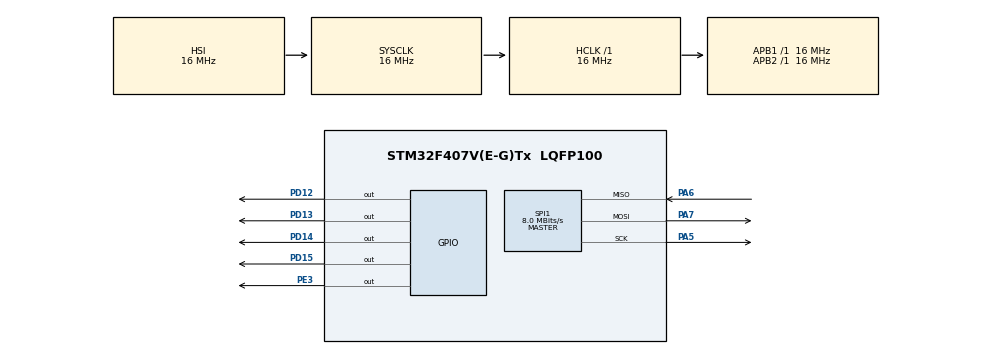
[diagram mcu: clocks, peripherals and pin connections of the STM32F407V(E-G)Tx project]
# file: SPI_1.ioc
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Mcu.Family=STM32F4
Mcu.Name=STM32F407V(E-G)Tx
Mcu.Package=LQFP100
NVIC.PriorityGroup=NVIC_PRIORITYGROUP_4
PA5.Mode=Full_Duplex_Master
PA5.Signal=SPI1_SCK
PA6.Mode=Full_Duplex_Master
PA6.Signal=SPI1_MISO
PA7.Mode=Full_Duplex_Master
PA7.Signal=SPI1_MOSI
PD12.Signal=GPIO_Output
PD13.Signal=GPIO_Output
PD14.Signal=GPIO_Output
PD15.Signal=GPIO_Output
PE3.GPIO_PuPd=GPIO_PULLUP
PE3.PinState=GPIO_PIN_SET
PE3.Signal=GPIO_Output
ProjectManager.HeapSize=0x200
ProjectManager.StackSize=0x400
ProjectManager.TargetToolchain=STM32CubeIDE
RCC.AHBFreq_Value=16000000
RCC.APB1Freq_Value=16000000
RCC.APB2Freq_Value=16000000
RCC.CortexFreq_Value=16000000
RCC.HSE_VALUE=25000000
RCC.HSI_VALUE=16000000
RCC.LSE_VALUE=32768
RCC.SYSCLKFreq_VALUE=16000000
RCC.VCOOutputFreq_Value=192000000
SPI1.CLKPhase=SPI_PHASE_2EDGE
SPI1.CLKPolarity=SPI_POLARITY_HIGH
SPI1.CalculateBaudRate=8.0 MBits/s
SPI1.Direction=SPI_DIRECTION_2LINES
SPI1.Mode=SPI_MODE_MASTER
SPI1.VirtualType=VM_MASTER
board=custom

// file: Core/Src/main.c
/* USER CODE BEGIN Header */
/* USER CODE END Header */
#include "main.h"

SPI_HandleTypeDef hspi1;

/* USER CODE BEGIN PV */
uint8_t ReadFlag = 0x80;

uint8_t Return[6];
uint8_t TxBuf[2];

uint8_t WhoAmI;

int16_t Rx_x;
int16_t Rx_y;
int16_t Rx_z;
/* USER CODE END PV */

void SystemClock_Config(void);
static void MX_GPIO_Init(void);
static void MX_SPI1_Init(void);

int main(void)
{

  /* MCU Configuration--------------------------------------------------------*/

  /* Reset of all peripherals, Initializes the Flash interface and the Systick. */
  HAL_Init();

  /* Configure the system clock */
  SystemClock_Config();

  /* Initialize all configured peripherals */
  MX_GPIO_Init();
  MX_SPI1_Init();
  /* USER CODE BEGIN 2 */
  /* WHO AM I */
  HAL_GPIO_WritePin(GPIOE, GPIO_PIN_3, GPIO_PIN_RESET);

  TxBuf[0] = 0x0F | ReadFlag;

  HAL_SPI_Transmit(&hspi1, TxBuf, 1, 50);
  HAL_SPI_Receive(&hspi1, &WhoAmI, 1, 50);

  HAL_GPIO_WritePin(GPIOE, GPIO_PIN_3, GPIO_PIN_SET);

  /* CTRL_REG4 */
  HAL_GPIO_WritePin(GPIOE, GPIO_PIN_3, GPIO_PIN_RESET);

  TxBuf[0] = 0x20;       // WRITE -> bit7 = 0
  TxBuf[1] = 0x47;       // 25 Hz, XYZ enabled

  HAL_SPI_Transmit(&hspi1, TxBuf, 2, 50);

  HAL_GPIO_WritePin(GPIOE, GPIO_PIN_3, GPIO_PIN_SET);

  /* CTRL_REG5 */
  HAL_GPIO_WritePin(GPIOE, GPIO_PIN_3, GPIO_PIN_RESET);

  TxBuf[0] = 0x24;       // CTRL_REG5
  TxBuf[1] = 0xC0;

  HAL_SPI_Transmit(&hspi1, TxBuf, 2, 50);

  HAL_GPIO_WritePin(GPIOE, GPIO_PIN_3, GPIO_PIN_SET);  /* USER CODE END 2 */

  /* Infinite loop */
  while(1)
  {

    /* USER CODE BEGIN 3 */
	  while (1)
	  {
	      HAL_GPIO_WritePin(GPIOE, GPIO_PIN_3, GPIO_PIN_RESET);

	      /* Start from X low byte */
	      TxBuf[0] = 0x28 | ReadFlag;

	      HAL_SPI_Transmit(&hspi1, TxBuf, 1, 50);

	      /* X_L X_H Y_L Y_H Z_L Z_H */
	      HAL_SPI_Receive(&hspi1, Return, 6, 50);

	      HAL_GPIO_WritePin(GPIOE, GPIO_PIN_3, GPIO_PIN_SET);

	      Rx_x = (int16_t)(((uint16_t)Return[1] << 8)
	                       | Return[0]);

	      Rx_y = (int16_t)(((uint16_t)Return[3] << 8)
	                       | Return[2]);

	      Rx_z = (int16_t)(((uint16_t)Return[5] << 8)
	                       | Return[4]);

	      HAL_Delay(100);
	  }
  }
  /* USER CODE END 3 */
}

void SystemClock_Config(void)
{
  RCC_OscInitTypeDef RCC_OscInitStruct = {0};
  RCC_ClkInitTypeDef RCC_ClkInitStruct = {0};

  /** Configure the main internal regulator output voltage
  */
  __HAL_RCC_PWR_CLK_ENABLE();
  __HAL_PWR_VOLTAGESCALING_CONFIG(PWR_REGULATOR_VOLTAGE_SCALE1);

  /** Initializes the RCC Oscillators according to the specified parameters
  * in the RCC_OscInitTypeDef structure.
  */
  RCC_OscInitStruct.OscillatorType = RCC_OSCILLATORTYPE_HSI;
  RCC_OscInitStruct.HSIState = RCC_HSI_ON;
  RCC_OscInitStruct.HSICalibrationValue = RCC_HSICALIBRATION_DEFAULT;
  RCC_OscInitStruct.PLL.PLLState = RCC_PLL_NONE;
  if (HAL_RCC_OscConfig(&RCC_OscInitStruct) != HAL_OK)
  {
    Error_Handler();
  }

  /** Initializes the CPU, AHB and APB buses clocks
  */
  RCC_ClkInitStruct.ClockType = RCC_CLOCKTYPE_HCLK|RCC_CLOCKTYPE_SYSCLK
                              |RCC_CLOCKTYPE_PCLK1|RCC_CLOCKTYPE_PCLK2;
  RCC_ClkInitStruct.SYSCLKSource = RCC_SYSCLKSOURCE_HSI;
  RCC_ClkInitStruct.AHBCLKDivider = RCC_SYSCLK_DIV1;
  RCC_ClkInitStruct.APB1CLKDivider = RCC_HCLK_DIV1;
  RCC_ClkInitStruct.APB2CLKDivider = RCC_HCLK_DIV1;

  if (HAL_RCC_ClockConfig(&RCC_ClkInitStruct, FLASH_LATENCY_0) != HAL_OK)
  {
    Error_Handler();
  }
}

static void MX_SPI1_Init(void)
{

  /* SPI1 parameter configuration*/
  hspi1.Instance = SPI1;
  hspi1.Init.Mode = SPI_MODE_MASTER;
  hspi1.Init.Direction = SPI_DIRECTION_2LINES;
  hspi1.Init.DataSize = SPI_DATASIZE_8BIT;
  hspi1.Init.CLKPolarity = SPI_POLARITY_HIGH;
  hspi1.Init.CLKPhase = SPI_PHASE_2EDGE;
  hspi1.Init.NSS = SPI_NSS_SOFT;
  hspi1.Init.BaudRatePrescaler = SPI_BAUDRATEPRESCALER_2;
  hspi1.Init.FirstBit = SPI_FIRSTBIT_MSB;
  hspi1.Init.TIMode = SPI_TIMODE_DISABLE;
  hspi1.Init.CRCCalculation = SPI_CRCCALCULATION_DISABLE;
  hspi1.Init.CRCPolynomial = 10;
  if (HAL_SPI_Init(&hspi1) != HAL_OK)
  {
    Error_Handler();
  }

}

static void MX_GPIO_Init(void)
{
  GPIO_InitTypeDef GPIO_InitStruct = {0};

  /* GPIO Ports Clock Enable */
  __HAL_RCC_GPIOE_CLK_ENABLE();
  __HAL_RCC_GPIOA_CLK_ENABLE();
  __HAL_RCC_GPIOD_CLK_ENABLE();

  /*Configure GPIO pin Output Level */
  HAL_GPIO_WritePin(GPIOE, GPIO_PIN_3, GPIO_PIN_SET);

  /*Configure GPIO pin Output Level */
  HAL_GPIO_WritePin(GPIOD, GPIO_PIN_12|GPIO_PIN_13|GPIO_PIN_14|GPIO_PIN_15, GPIO_PIN_RESET);

  /*Configure GPIO pin : PE3 */
  GPIO_InitStruct.Pin = GPIO_PIN_3;
  GPIO_InitStruct.Mode = GPIO_MODE_OUTPUT_PP;
  GPIO_InitStruct.Pull = GPIO_PULLUP;
  GPIO_InitStruct.Speed = GPIO_SPEED_FREQ_LOW;
  HAL_GPIO_Init(GPIOE, &GPIO_InitStruct);

  /*Configure GPIO pins : PD12 PD13 PD14 PD15 */
  GPIO_InitStruct.Pin = GPIO_PIN_12|GPIO_PIN_13|GPIO_PIN_14|GPIO_PIN_15;
  GPIO_InitStruct.Mode = GPIO_MODE_OUTPUT_PP;
  GPIO_InitStruct.Pull = GPIO_NOPULL;
  GPIO_InitStruct.Speed = GPIO_SPEED_FREQ_LOW;
  HAL_GPIO_Init(GPIOD, &GPIO_InitStruct);

}

void Error_Handler(void)
{
}
